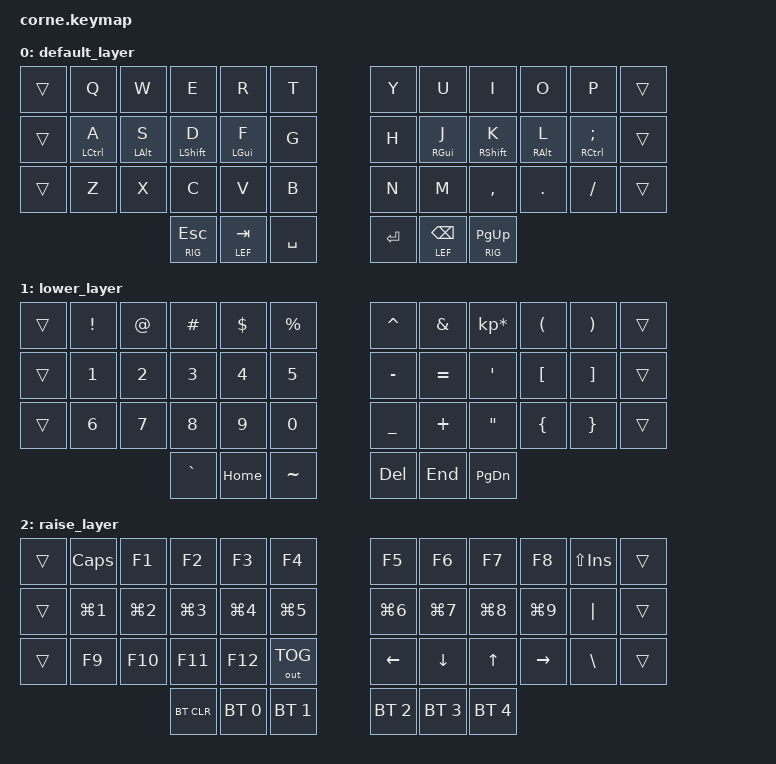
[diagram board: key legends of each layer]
/*
 * Copyright (c) 2020 The ZMK Contributors
 *
 * SPDX-License-Identifier: MIT
 */

#include <behaviors.dtsi>
#include <dt-bindings/zmk/keys.h>
#include <dt-bindings/zmk/bt.h>
#include <dt-bindings/zmk/outputs.h>

// Home row mods macro
// #define HRML(k2,k3,k4) &ht LALT k2  &ht LCTRL k3  &ht LGUI k4
// #define HRMR(k1,k2,k3) &ht RGUI k1  &ht RCTRL k2  &ht RALT k3
// #define WHRML(k2,k3,k4) &ht LALT k2  &ht LGUI k3  &ht LCTRL k4
// #define WHRMR(k1,k2,k3) &ht RCTRL k1  &ht RGUI k2  &ht RALT k3

#define MAC 0
#define LEF 1
#define RIG 2
// #define TRI 3

/ {
    behaviors {
        ht: hold_tap {
            label = "hold_tap";
            compatible = "zmk,behavior-hold-tap";
            #binding-cells = <2>;
            flavor = "tap-preferred";
            tapping-term-ms = <220>;
            quick-tap-ms = <150>;
            global-quick-tap;
            bindings = <&kp>, <&kp>;
        };
    };

//    conditional_layers {
//        compatible = "zmk,conditional-layers";
//        tri_layer {
//            if-layers = <RIG LEF>;
//            then-layer = <TRI>;
//        };
//    };

        keymap {
                compatible = "zmk,keymap";

                default_layer {
// -----------------------------------------------------------------------------------------
// |  TAB |  Q  |  W  |  E  |  R  |  T  |   |  Y  |  U   |  I  |  O  |  P  | BKSP |
// | CTRL |  A  |  S  |  D  |  F  |  G  |   |  H  |  J   |  K  |  L  |  ;  |  '   |
// | SHFT |  Z  |  X  |  C  |  V  |  B  |   |  N  |  M   |  ,  |  .  |  /  | ESC  |
//                    | GUI | LWR | SPC |   | ENT | RSE  | ALT |
                        bindings = <
   &trans &kp Q &kp W &kp E &kp R &kp T   &kp Y &kp U  &kp I     &kp O   &kp P    &trans
   &trans &ht LCTRL A &ht LALT S &ht LSHIFT D &ht LGUI F &kp G   &kp H &ht RGUI J &ht RSHIFT K &ht RALT L &ht RCTRL SEMI &trans
   &trans &kp Z &kp X &kp C &kp V &kp B   &kp N &kp M  &kp COMMA &kp DOT &kp FSLH &trans
                  &lt RIG ESC &lt LEF TAB &kp SPACE   &kp ENTER &lt LEF BSPC &lt RIG PG_UP
                        >;
                };
                lower_layer {
// -----------------------------------------------------------------------------------------
// |  TAB |  !  |  @  |  #  |  $  |  %  |   |  ^  |  &  |  *  |  (  |  )  | BKSP |
// | CTRL |     |     |     |     |     |   |  -  |  =  |  [  |  ]  |  \  |  `   |
// | SHFT |     |     |     |     |     |   |  _  |  +  |  {  |  }  | "|" |  ~   |
//                    | GUI |     | SPC |   | ENT |     | ALT |
                        bindings = <
   &trans &kp EXCL &kp AT &kp HASH &kp DLLR &kp PRCNT   &kp CARET &kp AMPS  &kp KP_MULTIPLY &kp LPAR &kp RPAR &trans
   &trans &kp N1 &kp N2 &kp N3 &kp N4 &kp N5						 &kp MINUS &kp EQUAL &kp SQT &kp LBKT &kp RBKT &trans
   &trans &kp N6 &kp N7 &kp N8 &kp N9 &kp N0						 &kp UNDER &kp PLUS  &kp DQT &kp LBRC &kp RBRC &trans
                         &kp GRAVE &kp HOME &kp TILDE  &kp DEL &kp END &kp PG_DN
                        >;
                };

                raise_layer {
// -----------------------------------------------------------------------------------------
// |  TAB |  1  |  2  |  3  |  4  |  5  |   |  6  |  7  |  8  |  9  |  0  | BKSP |
// | BTCLR| BT1 | BT2 | BT3 | BT4 | BT5 |   | LFT | DWN |  UP | RGT |     |      |
// | SHFT |     |     |     |     |     |   |     |     |     |     |     |      |
//                    | GUI |     | SPC |   | ENT |     | ALT |
                        bindings = <
   &trans &kp CAPS &kp F1 &kp F2 &kp F3 &kp F4                          &kp F5 &kp F6 &kp F7 &kp F8  &kp LS(INS) &trans
   &trans &kp LG(N1) &kp LG(N2) &kp LG(N3) &kp LG(N4) &kp LG(N5)        &kp LG(N6) &kp LG(N7) &kp LG(N8) &kp LG(N9) &kp PIPE &trans
   &trans &kp F9 &kp F10 &kp F11 &kp F12 &out OUT_TOG                   &kp LEFT &kp DOWN &kp UP &kp RIGHT &kp BSLH &trans
                           &bt BT_CLR &bt BT_SEL 0 &bt BT_SEL 1        &bt BT_SEL 2 &bt BT_SEL 3 &bt BT_SEL 4  
                        >;
                };
        };
};
